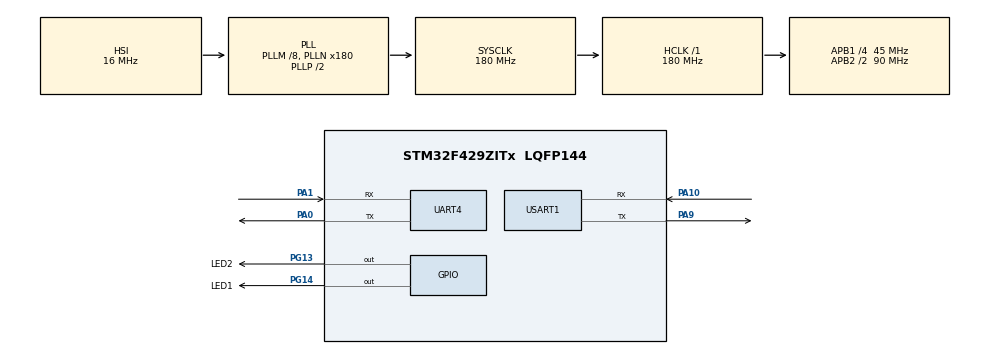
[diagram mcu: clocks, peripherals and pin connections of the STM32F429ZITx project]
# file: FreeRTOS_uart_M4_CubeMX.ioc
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FREERTOS.Mutexes01=uart1_mutex,Dynamic,NULL;uart4_mutex,Dynamic,NULL
FREERTOS.Tasks01=uart1_send,0,128,Start_uart1_send,Default,NULL,Dynamic,NULL,NULL;uart1_receive,-3,128,Start_uart1_receive,Default,NULL,Dynamic,NULL,NULL;uart4_send,-3,128,Start_uart4_send,Default,NULL,Dynamic,NULL,NULL;uart4_receive,-3,128,Start_uart4_receive,Default,NULL,Dynamic,NULL,NULL
Mcu.Family=STM32F4
Mcu.Name=STM32F429ZITx
Mcu.Package=LQFP144
NVIC.PriorityGroup=NVIC_PRIORITYGROUP_4
NVIC.TIM1_UP_TIM10_IRQn=true\:0\:0\:false\:false\:true\:false\:false
NVIC.TimeBase=TIM1_UP_TIM10_IRQn
NVIC.TimeBaseIP=TIM1
PA0/WKUP.Mode=Asynchronous
PA0/WKUP.Signal=UART4_TX
PA1.Mode=Asynchronous
PA1.Signal=UART4_RX
PA10.Mode=Asynchronous
PA10.Signal=USART1_RX
PA9.Mode=Asynchronous
PA9.Signal=USART1_TX
PG13.GPIO_Label=LED2
PG13.Signal=GPIO_Output
PG14.GPIO_Label=LED1
PG14.Signal=GPIO_Output
ProjectManager.HeapSize=0x200
ProjectManager.StackSize=0x400
ProjectManager.TargetToolchain=SW4STM32
RCC.48MHZClocksFreq_Value=90000000
RCC.AHBFreq_Value=180000000
RCC.APB1CLKDivider=RCC_HCLK_DIV4
RCC.APB1Freq_Value=45000000
RCC.APB1TimFreq_Value=90000000
RCC.APB2CLKDivider=RCC_HCLK_DIV2
RCC.APB2Freq_Value=90000000
RCC.APB2TimFreq_Value=180000000
RCC.CortexFreq_Value=180000000
RCC.HCLKFreq_Value=180000000
RCC.HSE_VALUE=25000000
RCC.HSI_VALUE=16000000
RCC.LSE_VALUE=32768
RCC.PLLM=8
RCC.PLLN=180
RCC.SYSCLKFreq_VALUE=180000000
RCC.SYSCLKSource=RCC_SYSCLKSOURCE_PLLCLK
RCC.VCOOutputFreq_Value=360000000
UART4.VirtualMode=Asynchronous
USART1.VirtualMode=VM_ASYNC
VP_FREERTOS_VS_ENABLE.Mode=Enabled
VP_SYS_VS_tim1.Mode=TIM1
board=custom

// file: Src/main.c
/**
  ******************************************************************************
  * @file           : main.c
  * @brief          : Main program body
  ******************************************************************************
  * This notice applies to any and all portions of this file
  * that are not between comment pairs USER CODE BEGIN and
  * USER CODE END. Other portions of this file, whether
  * inserted by the user or by software development tools
  * are owned by their respective copyright owners.
  *
  * Copyright (c) 2018 STMicroelectronics International N.V.
  * All rights reserved.
  *
  * Redistribution and use in source and binary forms, with or without
  * modification, are permitted, provided that the following conditions are met:
  *
  * 1. Redistribution of source code must retain the above copyright notice,
  *    this list of conditions and the following disclaimer.
  * 2. Redistributions in binary form must reproduce the above copyright notice,
  *    this list of conditions and the following disclaimer in the documentation
  *    and/or other materials provided with the distribution.
  * 3. Neither the name of STMicroelectronics nor the names of other
  *    contributors to this software may be used to endorse or promote products
  *    derived from this software without specific written permission.
  * 4. This software, including modifications and/or derivative works of this
  *    software, must execute solely and exclusively on microcontroller or
  *    microprocessor devices manufactured by or for STMicroelectronics.
  * 5. Redistribution and use of this software other than as permitted under
  *    this license is void and will automatically terminate your rights under
  *    this license.
  *
  * THIS SOFTWARE IS PROVIDED BY STMICROELECTRONICS AND CONTRIBUTORS "AS IS"
  * AND ANY EXPRESS, IMPLIED OR STATUTORY WARRANTIES, INCLUDING, BUT NOT
  * LIMITED TO, THE IMPLIED WARRANTIES OF MERCHANTABILITY, FITNESS FOR A
  * PARTICULAR PURPOSE AND NON-INFRINGEMENT OF THIRD PARTY INTELLECTUAL PROPERTY
  * RIGHTS ARE DISCLAIMED TO THE FULLEST EXTENT PERMITTED BY LAW. IN NO EVENT
  * SHALL STMICROELECTRONICS OR CONTRIBUTORS BE LIABLE FOR ANY DIRECT, INDIRECT,
  * INCIDENTAL, SPECIAL, EXEMPLARY, OR CONSEQUENTIAL DAMAGES (INCLUDING, BUT NOT
  * LIMITED TO, PROCUREMENT OF SUBSTITUTE GOODS OR SERVICES; LOSS OF USE, DATA,
  * OR PROFITS; OR BUSINESS INTERRUPTION) HOWEVER CAUSED AND ON ANY THEORY OF
  * LIABILITY, WHETHER IN CONTRACT, STRICT LIABILITY, OR TORT (INCLUDING
  * NEGLIGENCE OR OTHERWISE) ARISING IN ANY WAY OUT OF THE USE OF THIS SOFTWARE,
  * EVEN IF ADVISED OF THE POSSIBILITY OF SUCH DAMAGE.
  *
  ******************************************************************************
  */
#include "main.h"
#include "stm32f4xx_hal.h"
#include "cmsis_os.h"

UART_HandleTypeDef huart4;
UART_HandleTypeDef huart1;

osThreadId uart1_sendHandle;
osThreadId uart1_receiveHandle;
osThreadId uart4_sendHandle;
osThreadId uart4_receiveHandle;
osMutexId uart1_mutexHandle;
osMutexId uart4_mutexHandle;

/* USER CODE BEGIN PV */
/* Private variables ---------------------------------------------------------*/

/* USER CODE END PV */

void SystemClock_Config(void);
static void MX_GPIO_Init(void);
static void MX_USART1_UART_Init(void);
static void MX_UART4_Init(void);
void Start_uart1_send(void const * argument);
void Start_uart1_receive(void const * argument);
void Start_uart4_send(void const * argument);
void Start_uart4_receive(void const * argument);

/* USER CODE BEGIN PFP */
/* Private function prototypes -----------------------------------------------*/

/* USER CODE END PFP */

int main(void)
{

  /* MCU Configuration----------------------------------------------------------*/

  /* Reset of all peripherals, Initializes the Flash interface and the Systick. */
  HAL_Init();

  /* Configure the system clock */
  SystemClock_Config();

  /* Initialize all configured peripherals */
  MX_GPIO_Init();
  MX_USART1_UART_Init();
  MX_UART4_Init();

  /* Create the mutex(es) */
  /* definition and creation of uart1_mutex */
  osMutexDef(uart1_mutex);
  uart1_mutexHandle = osMutexCreate(osMutex(uart1_mutex));

  /* definition and creation of uart4_mutex */
  osMutexDef(uart4_mutex);
  uart4_mutexHandle = osMutexCreate(osMutex(uart4_mutex));

  /* Create the thread(s) */
  /* definition and creation of uart1_send */
  osThreadDef(uart1_send, Start_uart1_send, osPriorityNormal, 0, 128);
  uart1_sendHandle = osThreadCreate(osThread(uart1_send), NULL);

  /* definition and creation of uart1_receive */
  osThreadDef(uart1_receive, Start_uart1_receive, osPriorityIdle, 0, 128);
  uart1_receiveHandle = osThreadCreate(osThread(uart1_receive), NULL);

  /* definition and creation of uart4_send */
  osThreadDef(uart4_send, Start_uart4_send, osPriorityIdle, 0, 128);
  uart4_sendHandle = osThreadCreate(osThread(uart4_send), NULL);

  /* definition and creation of uart4_receive */
  osThreadDef(uart4_receive, Start_uart4_receive, osPriorityIdle, 0, 128);
  uart4_receiveHandle = osThreadCreate(osThread(uart4_receive), NULL);

  /* Start scheduler */
  osKernelStart();

  /* We should never get here as control is now taken by the scheduler */

  /* Infinite loop */
  while (1)
  {

  }

}

void SystemClock_Config(void)
{

  RCC_OscInitTypeDef RCC_OscInitStruct;
  RCC_ClkInitTypeDef RCC_ClkInitStruct;

    /**Configure the main internal regulator output voltage
    */
  __HAL_RCC_PWR_CLK_ENABLE();

  __HAL_PWR_VOLTAGESCALING_CONFIG(PWR_REGULATOR_VOLTAGE_SCALE1);

    /**Initializes the CPU, AHB and APB busses clocks
    */
  RCC_OscInitStruct.OscillatorType = RCC_OSCILLATORTYPE_HSI;
  RCC_OscInitStruct.HSIState = RCC_HSI_ON;
  RCC_OscInitStruct.HSICalibrationValue = 16;
  RCC_OscInitStruct.PLL.PLLState = RCC_PLL_ON;
  RCC_OscInitStruct.PLL.PLLSource = RCC_PLLSOURCE_HSI;
  RCC_OscInitStruct.PLL.PLLM = 8;
  RCC_OscInitStruct.PLL.PLLN = 180;
  RCC_OscInitStruct.PLL.PLLP = RCC_PLLP_DIV2;
  RCC_OscInitStruct.PLL.PLLQ = 4;
  if (HAL_RCC_OscConfig(&RCC_OscInitStruct) != HAL_OK)
  {
    _Error_Handler(__FILE__, __LINE__);
  }

    /**Activate the Over-Drive mode
    */
  if (HAL_PWREx_EnableOverDrive() != HAL_OK)
  {
    _Error_Handler(__FILE__, __LINE__);
  }

    /**Initializes the CPU, AHB and APB busses clocks
    */
  RCC_ClkInitStruct.ClockType = RCC_CLOCKTYPE_HCLK|RCC_CLOCKTYPE_SYSCLK
                              |RCC_CLOCKTYPE_PCLK1|RCC_CLOCKTYPE_PCLK2;
  RCC_ClkInitStruct.SYSCLKSource = RCC_SYSCLKSOURCE_PLLCLK;
  RCC_ClkInitStruct.AHBCLKDivider = RCC_SYSCLK_DIV1;
  RCC_ClkInitStruct.APB1CLKDivider = RCC_HCLK_DIV4;
  RCC_ClkInitStruct.APB2CLKDivider = RCC_HCLK_DIV2;

  if (HAL_RCC_ClockConfig(&RCC_ClkInitStruct, FLASH_LATENCY_5) != HAL_OK)
  {
    _Error_Handler(__FILE__, __LINE__);
  }

    /**Configure the Systick interrupt time
    */
  HAL_SYSTICK_Config(HAL_RCC_GetHCLKFreq()/1000);

    /**Configure the Systick
    */
  HAL_SYSTICK_CLKSourceConfig(SYSTICK_CLKSOURCE_HCLK);

  /* SysTick_IRQn interrupt configuration */
  HAL_NVIC_SetPriority(SysTick_IRQn, 15, 0);
}

/* UART4 init function */
static void MX_UART4_Init(void)
{

  huart4.Instance = UART4;
  huart4.Init.BaudRate = 115200;
  huart4.Init.WordLength = UART_WORDLENGTH_8B;
  huart4.Init.StopBits = UART_STOPBITS_1;
  huart4.Init.Parity = UART_PARITY_NONE;
  huart4.Init.Mode = UART_MODE_TX_RX;
  huart4.Init.HwFlowCtl = UART_HWCONTROL_NONE;
  huart4.Init.OverSampling = UART_OVERSAMPLING_16;
  if (HAL_UART_Init(&huart4) != HAL_OK)
  {
    _Error_Handler(__FILE__, __LINE__);
  }

}

/* USART1 init function */
static void MX_USART1_UART_Init(void)
{

  huart1.Instance = USART1;
  huart1.Init.BaudRate = 115200;
  huart1.Init.WordLength = UART_WORDLENGTH_8B;
  huart1.Init.StopBits = UART_STOPBITS_1;
  huart1.Init.Parity = UART_PARITY_NONE;
  huart1.Init.Mode = UART_MODE_TX_RX;
  huart1.Init.HwFlowCtl = UART_HWCONTROL_NONE;
  huart1.Init.OverSampling = UART_OVERSAMPLING_16;
  if (HAL_UART_Init(&huart1) != HAL_OK)
  {
    _Error_Handler(__FILE__, __LINE__);
  }

}

/** Configure pins as
        * Analog
        * Input
        * Output
        * EVENT_OUT
        * EXTI
*/
static void MX_GPIO_Init(void)
{

  GPIO_InitTypeDef GPIO_InitStruct;

  /* GPIO Ports Clock Enable */
  __HAL_RCC_GPIOA_CLK_ENABLE();
  __HAL_RCC_GPIOG_CLK_ENABLE();

  /*Configure GPIO pin Output Level */
  HAL_GPIO_WritePin(GPIOG, LED2_Pin|LED1_Pin, GPIO_PIN_RESET);

  /*Configure GPIO pins : LED2_Pin LED1_Pin */
  GPIO_InitStruct.Pin = LED2_Pin|LED1_Pin;
  GPIO_InitStruct.Mode = GPIO_MODE_OUTPUT_PP;
  GPIO_InitStruct.Pull = GPIO_NOPULL;
  GPIO_InitStruct.Speed = GPIO_SPEED_FREQ_LOW;
  HAL_GPIO_Init(GPIOG, &GPIO_InitStruct);

}

void Start_uart1_send(void const * argument)
{

  /* USER CODE BEGIN 5 */

	uint8_t smessage[10] = "ABCDEFGHIJ";

  /* Infinite loop */
  for(;;)
  {

    xSemaphoreTake(uart1_mutexHandle, portMAX_DELAY);
	HAL_UART_Transmit(&huart1, smessage, 10, 100);
	xSemaphoreGive(uart1_mutexHandle);
	osDelay(1000);
  }
  /* USER CODE END 5 */
}

void Start_uart1_receive(void const * argument)
{
  /* USER CODE BEGIN Start_uart1_receive */

	uint8_t rmessage[10];

  /* Infinite loop */
  for(;;)
  {
	  xSemaphoreTake(uart1_mutexHandle, portMAX_DELAY);
	  HAL_UART_Receive(&huart1, rmessage, 10, 100);
	  xSemaphoreGive(uart1_mutexHandle);
	  osDelay(2500);
      //HAL_GPIO_WritePin(LED2_GPIO_Port, LED2_Pin, !HAL_GPIO_ReadPin(LED2_GPIO_Port, LED2_Pin));
  }
  /* USER CODE END Start_uart1_receive */
}

void Start_uart4_send(void const * argument)
{
  /* USER CODE BEGIN Start_uart4_send */

	char smessage[10] = "I GET IT\n\r";
	uint32_t NotValue;

  /* Infinite loop */
  for(;;)
  {
	  xTaskNotifyWait(pdFALSE, 0xFF, &NotValue, portMAX_DELAY);

	  if((NotValue & 0x0001) != 0x0001)
	  {
		  xSemaphoreTake(uart4_mutexHandle, portMAX_DELAY);
		  HAL_UART_Transmit(&huart4, smessage, 10, 100);
		  xSemaphoreGive(uart4_mutexHandle);
		  HAL_GPIO_WritePin(LED2_GPIO_Port, LED2_Pin, !HAL_GPIO_ReadPin(LED2_GPIO_Port, LED2_Pin));
	  }
	  else HAL_GPIO_WritePin(LED1_GPIO_Port, LED1_Pin, !HAL_GPIO_ReadPin(LED1_GPIO_Port, LED1_Pin));

	  osDelay(1000);
  }
  /* USER CODE END Start_uart4_send */
}

void Start_uart4_receive(void const * argument)
{
  /* USER CODE BEGIN Start_uart4_receive */
	uint8_t rmessage[10];
	uint8_t expected[10] = "ABCDEFGHjh";
	uint8_t flag = 1;
  /* Infinite loop */
  for(;;)
  {
	  xSemaphoreTake(uart4_mutexHandle, portMAX_DELAY);
	  HAL_UART_Receive(&huart4, rmessage, 10, 100);
	  xSemaphoreGive(uart4_mutexHandle);

	  for(int i = 0; i < 10; i++)
	  {
		  if(rmessage[i] != expected[i]) flag = 0;
	  }

	  if(flag == 1) xTaskNotify(uart4_sendHandle, 0x01, eSetBits);
	  else xTaskNotify(uart4_sendHandle, 0x00, eSetBits);
	  osDelay(1000);
  }
  /* USER CODE END Start_uart4_receive */
}

void HAL_TIM_PeriodElapsedCallback(TIM_HandleTypeDef *htim)
{
  if (htim->Instance == TIM1) {
    HAL_IncTick();
  }
}

void _Error_Handler(char *file, int line)
{
  while(1)
  {
  }
}

/************************ (C) COPYRIGHT STMicroelectronics *****END OF FILE****/
